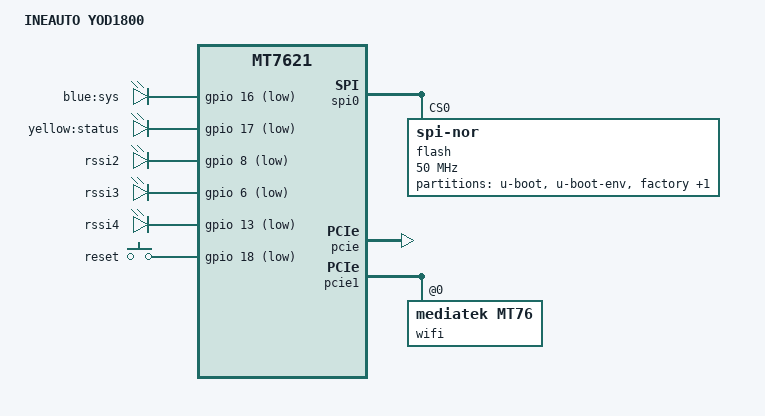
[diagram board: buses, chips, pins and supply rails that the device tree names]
// SPDX-License-Identifier: GPL-2.0-or-later OR MIT

#include "mt7621.dtsi"

#include <dt-bindings/gpio/gpio.h>
#include <dt-bindings/input/input.h>

/ {
	compatible = "ineauto,yod1800", "totolink,x5000r", "mediatek,mt7621-soc";
	model = "INEAUTO YOD1800";

	aliases {
		led-boot = &led_sys;
		led-failsafe = &led_sys;
		led-running = &led_sys;
		led-upgrade = &led_sys;
		label-mac-device = &gmac0;
	};

	chosen {
		stdout-path = "serial0:115200n8";
		bootargs = "console=ttyS0,115200n8";
	};

	leds {
		compatible = "gpio-leds";

		led_sys: sys {
			label = "blue:sys";
			gpios = <&gpio 16 GPIO_ACTIVE_LOW>;
		};

		status {
			label = "yellow:status";
			gpios = <&gpio 17 GPIO_ACTIVE_LOW>;
		};

		rssi2 {
			label = "rssi2";
			gpios = <&gpio 8 GPIO_ACTIVE_LOW>;
		};

		rssi3 {
			label = "rssi3";
			gpios = <&gpio 6 GPIO_ACTIVE_LOW>;
		};

		rssi4 {
			label = "rssi4";
			gpios = <&gpio 13 GPIO_ACTIVE_LOW>;
		};
	};

	keys {
		compatible = "gpio-keys";

		reset {
			label = "reset";
			gpios = <&gpio 18 GPIO_ACTIVE_LOW>;
			debounce-interval = <60>;
			linux,code = <KEY_RESTART>;
		};
	};
};

&spi0 {
	status = "okay";

	flash@0 {
		compatible = "jedec,spi-nor";
		reg = <0>;
		spi-max-frequency = <50000000>;
		m25p,fast-read;

		partitions {
			compatible = "fixed-partitions";
			#address-cells = <1>;
			#size-cells = <1>;

			partition@0 {
				label = "u-boot";
				reg = <0x0 0x30000>;
				read-only;
			};

			partition@30000 {
				label = "u-boot-env";
				reg = <0x30000 0x10000>;
				read-only;
			};

			partition@50000 {
				label = "factory";
				reg = <0x50000 0x40000>;
				read-only;

				nvmem-layout {
					compatible = "fixed-layout";
					#address-cells = <1>;
					#size-cells = <1>;

					eeprom_factory_0: eeprom@0 {
						reg = <0x0 0xe00>;
					};

					macaddr_factory_4: macaddr@4 {
						compatible = "mac-base";
						reg = <0x4 0x6>;
						#nvmem-cell-cells = <1>;
					};

					macaddr_factory_e000: macaddr@e000 {
						reg = <0xe000 0x6>;
					};

					macaddr_factory_e006: macaddr@e006 {
						reg = <0xe006 0x6>;
					};
				};
			};

			partition@90000 {
				compatible = "denx,uimage";
				label = "firmware";
				reg = <0x90000 0xf70000>;
				read-only;
			};
		};
	};
};

&pcie {
	status = "okay";
};

&pcie1 {
	wifi@0,0 {
		compatible = "mediatek,mt76";
		reg = <0x0000 0 0 0 0>;
		nvmem-cells = <&eeprom_factory_0>;
		nvmem-cell-names = "eeprom";
		mediatek,disable-radar-background;

		#address-cells = <1>;
		#size-cells = <0>;

		band@0 {
			reg = <0>;
			nvmem-cells = <&macaddr_factory_4 0>;
			nvmem-cell-names = "mac-address";
		};

		band@1 {
			reg = <1>;
			nvmem-cells = <&macaddr_factory_4 1>;
			nvmem-cell-names = "mac-address";
		};
	};
};

&gmac0 {
	nvmem-cells = <&macaddr_factory_4 2>;
	nvmem-cell-names = "mac-address";
};

&switch0 {
	ports {
		port@0 {
			status = "okay";
			label = "lan1";
		};

		port@1 {
			status = "okay";
			label = "lan2";
		};

		port@2 {
			status = "okay";
			label = "wan";
			nvmem-cells = <&macaddr_factory_4 3>;
			nvmem-cell-names = "mac-address";
		};
	};
};

&state_default {
	gpio {
		groups = "i2c", "wdt", "jtag", "uart2", "uart3";
		function = "gpio";
	};
};
